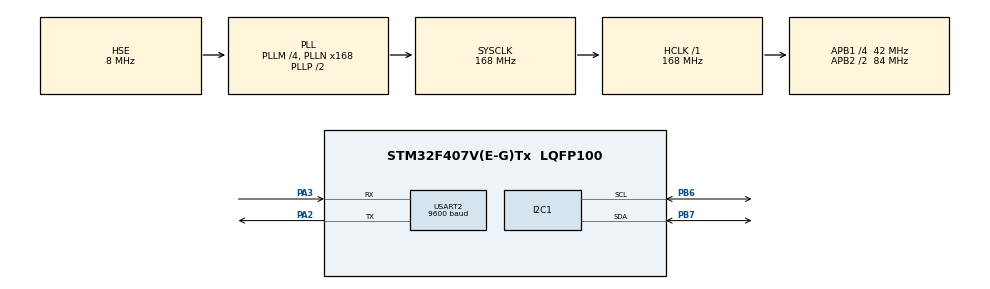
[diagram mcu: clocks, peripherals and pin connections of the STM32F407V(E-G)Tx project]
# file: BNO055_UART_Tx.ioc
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Mcu.Family=STM32F4
Mcu.Name=STM32F407V(E-G)Tx
Mcu.Package=LQFP100
NVIC.PriorityGroup=NVIC_PRIORITYGROUP_4
PA13.Mode=Serial_Wire
PA13.Signal=SYS_JTMS-SWDIO
PA14.Mode=Serial_Wire
PA14.Signal=SYS_JTCK-SWCLK
PA2.Mode=Asynchronous
PA2.Signal=USART2_TX
PA3.Mode=Asynchronous
PA3.Signal=USART2_RX
PB6.Mode=I2C
PB6.Signal=I2C1_SCL
PB7.Mode=I2C
PB7.Signal=I2C1_SDA
PH0-OSC_IN.Mode=HSE-External-Oscillator
PH0-OSC_IN.Signal=RCC_OSC_IN
PH1-OSC_OUT.Mode=HSE-External-Oscillator
PH1-OSC_OUT.Signal=RCC_OSC_OUT
ProjectManager.HeapSize=0x200
ProjectManager.StackSize=0x400
ProjectManager.TargetToolchain=STM32CubeIDE
RCC.48MHZClocksFreq_Value=84000000
RCC.AHBFreq_Value=168000000
RCC.APB1CLKDivider=RCC_HCLK_DIV4
RCC.APB1Freq_Value=42000000
RCC.APB1TimFreq_Value=84000000
RCC.APB2CLKDivider=RCC_HCLK_DIV2
RCC.APB2Freq_Value=84000000
RCC.APB2TimFreq_Value=168000000
RCC.CortexFreq_Value=168000000
RCC.HCLKFreq_Value=168000000
RCC.HSE_VALUE=8000000
RCC.HSI_VALUE=16000000
RCC.LSE_VALUE=32768
RCC.PLLM=4
RCC.PLLN=168
RCC.PLLSourceVirtual=RCC_PLLSOURCE_HSE
RCC.SYSCLKFreq_VALUE=168000000
RCC.SYSCLKSource=RCC_SYSCLKSOURCE_PLLCLK
RCC.VCOOutputFreq_Value=336000000
USART2.BaudRate=9600
USART2.VirtualMode=VM_ASYNC
board=custom

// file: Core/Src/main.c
/* USER CODE BEGIN Header */
/**
  ******************************************************************************
  * @file           : main.c
  * @brief          : Main program body
  ******************************************************************************
  * @attention
  *
  * Copyright (c) 2023 STMicroelectronics.
  * All rights reserved.
  *
  * This software is licensed under terms that can be found in the LICENSE file
  * in the root directory of this software component.
  * If no LICENSE file comes with this software, it is provided AS-IS.
  *
  ******************************************************************************
  */
/* USER CODE END Header */
#include "main.h"

/* USER CODE BEGIN Includes */
#include <stdio.h>
#include <string.h>
#include "bno055.h"
#include "bno_config.h"
/* USER CODE END Includes */

I2C_HandleTypeDef hi2c1;

UART_HandleTypeDef huart2;

void SystemClock_Config(void);
static void MX_GPIO_Init(void);
static void MX_I2C1_Init(void);
static void MX_USART2_UART_Init(void);

/* USER CODE BEGIN 0 */
float A_X = 0, A_Y = 0, A_Z = 0;
float G_X = 0, G_Y = 0, G_Z = 0;
void send_data_to_e22(float A_X,float A_Y,float A_Z,float G_X,float G_Y,float G_Z ) {
  char buf[100];

  sprintf(buf, "Gyroscope:\tX=%f\tY=%f\tZ=%f\nAccelerometer:\tX=%f\tY=%f\tZ=%f\n", G_X, G_Y, G_Z, A_X, A_Y, A_Z);
  HAL_UART_Transmit_IT(&huart2, (uint8_t*)buf, strlen(buf));
}
/* USER CODE END 0 */

int main(void)
{
  /* USER CODE BEGIN 1 */
	bno055_t bno = (bno055_t){
	    .i2c = &hi2c1, .addr = BNO_ADDR, .mode = BNO_MODE_IMU,
	};

	bno055_init(&bno);
	bno055_set_opmode(&bno, BNO_MODE_IMU);
  /* USER CODE END 1 */

  /* MCU Configuration--------------------------------------------------------*/

  /* Reset of all peripherals, Initializes the Flash interface and the Systick. */
  HAL_Init();

  /* Configure the system clock */
  SystemClock_Config();

  /* Initialize all configured peripherals */
  MX_GPIO_Init();
  MX_I2C1_Init();
  MX_USART2_UART_Init();
  /* USER CODE BEGIN 2 */
  bno055_vec3_t gyroscope;
  bno055_vec3_t accelerometer;
  /* USER CODE END 2 */

  /* Infinite loop */
  /* USER CODE BEGIN WHILE */
  while (1)
  {
	  bno055_gyro(&bno, &gyroscope);

	  bno055_acc(&bno, &accelerometer);
	  A_X=accelerometer.x;
	  A_Y=accelerometer.y;
	  A_Z=accelerometer.z;
	  G_X=gyroscope.x;
	  G_Y=gyroscope.y;
	  G_Z=gyroscope.z;
	  send_data_to_e22(A_X, A_Y, A_Z,G_X, G_Y, G_Z);
	  HAL_Delay(500);
    /* USER CODE END WHILE */

  }
}

void SystemClock_Config(void)
{
  RCC_OscInitTypeDef RCC_OscInitStruct = {0};
  RCC_ClkInitTypeDef RCC_ClkInitStruct = {0};

  /** Configure the main internal regulator output voltage
  */
  __HAL_RCC_PWR_CLK_ENABLE();
  __HAL_PWR_VOLTAGESCALING_CONFIG(PWR_REGULATOR_VOLTAGE_SCALE1);

  /** Initializes the RCC Oscillators according to the specified parameters
  * in the RCC_OscInitTypeDef structure.
  */
  RCC_OscInitStruct.OscillatorType = RCC_OSCILLATORTYPE_HSE;
  RCC_OscInitStruct.HSEState = RCC_HSE_ON;
  RCC_OscInitStruct.PLL.PLLState = RCC_PLL_ON;
  RCC_OscInitStruct.PLL.PLLSource = RCC_PLLSOURCE_HSE;
  RCC_OscInitStruct.PLL.PLLM = 4;
  RCC_OscInitStruct.PLL.PLLN = 168;
  RCC_OscInitStruct.PLL.PLLP = RCC_PLLP_DIV2;
  RCC_OscInitStruct.PLL.PLLQ = 4;
  if (HAL_RCC_OscConfig(&RCC_OscInitStruct) != HAL_OK)
  {
    Error_Handler();
  }

  /** Initializes the CPU, AHB and APB buses clocks
  */
  RCC_ClkInitStruct.ClockType = RCC_CLOCKTYPE_HCLK|RCC_CLOCKTYPE_SYSCLK
                              |RCC_CLOCKTYPE_PCLK1|RCC_CLOCKTYPE_PCLK2;
  RCC_ClkInitStruct.SYSCLKSource = RCC_SYSCLKSOURCE_PLLCLK;
  RCC_ClkInitStruct.AHBCLKDivider = RCC_SYSCLK_DIV1;
  RCC_ClkInitStruct.APB1CLKDivider = RCC_HCLK_DIV4;
  RCC_ClkInitStruct.APB2CLKDivider = RCC_HCLK_DIV2;

  if (HAL_RCC_ClockConfig(&RCC_ClkInitStruct, FLASH_LATENCY_5) != HAL_OK)
  {
    Error_Handler();
  }
}

static void MX_I2C1_Init(void)
{

  hi2c1.Instance = I2C1;
  hi2c1.Init.ClockSpeed = 100000;
  hi2c1.Init.DutyCycle = I2C_DUTYCYCLE_2;
  hi2c1.Init.OwnAddress1 = 0;
  hi2c1.Init.AddressingMode = I2C_ADDRESSINGMODE_7BIT;
  hi2c1.Init.DualAddressMode = I2C_DUALADDRESS_DISABLE;
  hi2c1.Init.OwnAddress2 = 0;
  hi2c1.Init.GeneralCallMode = I2C_GENERALCALL_DISABLE;
  hi2c1.Init.NoStretchMode = I2C_NOSTRETCH_DISABLE;
  if (HAL_I2C_Init(&hi2c1) != HAL_OK)
  {
    Error_Handler();
  }

}

static void MX_USART2_UART_Init(void)
{

  huart2.Instance = USART2;
  huart2.Init.BaudRate = 9600;
  huart2.Init.WordLength = UART_WORDLENGTH_8B;
  huart2.Init.StopBits = UART_STOPBITS_1;
  huart2.Init.Parity = UART_PARITY_NONE;
  huart2.Init.Mode = UART_MODE_TX_RX;
  huart2.Init.HwFlowCtl = UART_HWCONTROL_NONE;
  huart2.Init.OverSampling = UART_OVERSAMPLING_16;
  if (HAL_UART_Init(&huart2) != HAL_OK)
  {
    Error_Handler();
  }

}

static void MX_GPIO_Init(void)
{

  /* GPIO Ports Clock Enable */
  __HAL_RCC_GPIOH_CLK_ENABLE();
  __HAL_RCC_GPIOA_CLK_ENABLE();
  __HAL_RCC_GPIOB_CLK_ENABLE();

}

void Error_Handler(void)
{
  __disable_irq();
  while (1)
  {
  }
}
